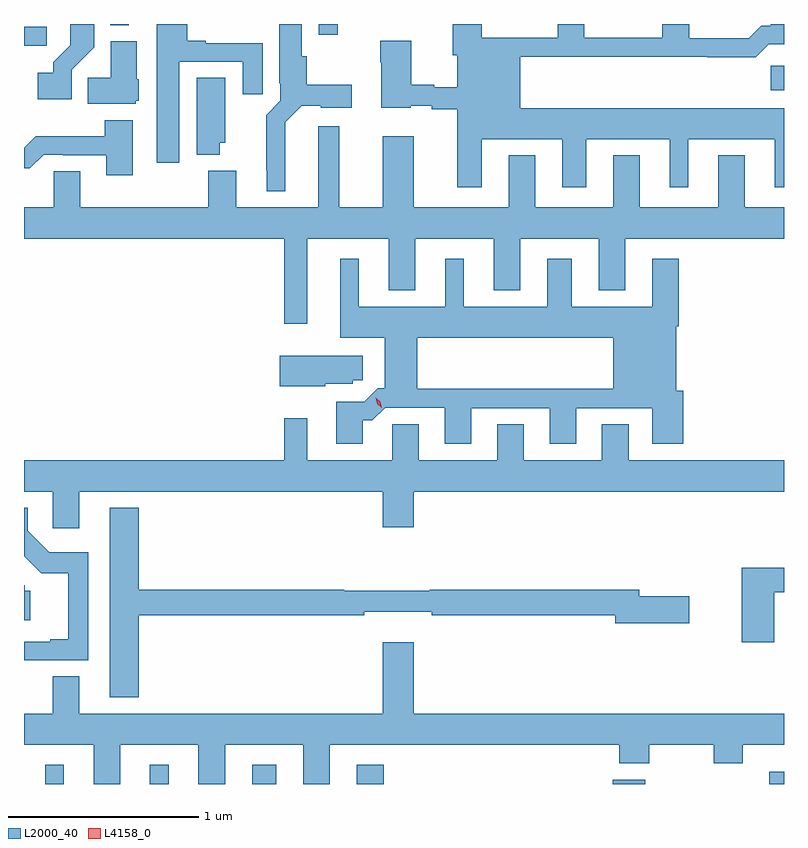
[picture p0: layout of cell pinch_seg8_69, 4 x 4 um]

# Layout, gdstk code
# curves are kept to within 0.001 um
import gdstk
lib = gdstk.Library(unit=1e-6, precision=1e-09)
def R(c, l, rs):  # rectangles x0, y0, x1, y1
    for r in rs: c.add(gdstk.rectangle(r[:2], r[2:], *l))
def P(c, l, *ps):  # polygons
    for p in ps: c.add(gdstk.Polygon(p, *l))
L2000_40 = (2000, 40)
L4158_0 = (4158, 0)

pinch_seg8_69 = lib.new_cell('pinch_seg8_69')
R(pinch_seg8_69, L2000_40, [(930.464,1100.309,930.562,1100.41), (931.016,1100.309,931.114,1100.41), (931.553,1100.309,931.681,1100.41), (932.105,1100.309,932.246,1100.41), (933.452,1100.309,933.622,1100.332), (934.275,1100.309,934.353,1100.374), (934.284,1103.96,934.353,1104.089), (930.353,1104.195,930.472,1104.294), (931.905,1104.252,932.004,1104.309), (930.807,1104.302,930.904,1104.309)])
P(pinch_seg8_69, L2000_40, [(932.761,1103.702),(933.185,1103.702),(933.185,1103.451),(933.313,1103.451),(933.313,1103.702),(933.752,1103.702),(933.752,1103.451),(933.85,1103.451),(933.85,1103.702),(934.304,1103.702),(934.304,1103.451),(934.353,1103.451),(934.353,1103.866),(932.965,1103.866),(932.965,1104.136),(933.949,1104.136),(933.949,1104.134),(934.205,1104.134),(934.274,1104.203),(934.353,1104.203),(934.353,1104.309),(934.283,1104.309),(934.283,1104.301),(934.234,1104.301),(934.167,1104.234),(933.853,1104.234),(933.853,1104.309),(933.713,1104.309),(933.713,1104.237),(933.301,1104.237),(933.301,1104.309),(933.161,1104.309),(933.161,1104.237),(932.761,1104.237),(932.761,1104.309),(932.609,1104.309),(932.609,1104.144),(932.633,1104.144),(932.633,1103.977),(932.513,1103.977),(932.513,1103.989),(932.392,1103.989),(932.392,1104.22),(932.227,1104.22),(932.227,1104.107),(932.234,1104.107),(932.234,1103.867),(932.388,1103.867),(932.388,1103.879),(932.5,1103.879),(932.5,1103.86),(932.633,1103.86),(932.633,1103.451),(932.761,1103.451)],
  [(931.729,1103.792),(931.815,1103.879),(931.914,1103.879),(931.914,1103.867),(932.077,1103.867),(932.077,1103.989),(931.842,1103.989),(931.842,1104.138),(931.816,1104.138),(931.816,1104.309),(931.697,1104.309),(931.697,1103.998),(931.701,1103.998),(931.701,1103.904),(931.627,1103.83),(931.627,1103.539),(931.631,1103.539),(931.631,1103.429),(931.729,1103.429)],
  [(931.171,1104.111),(931.505,1104.111),(931.505,1103.94),(931.609,1103.94),(931.609,1104.207),(931.309,1104.207),(931.309,1104.22),(931.213,1104.22),(931.213,1104.309),(931.052,1104.309),(931.052,1103.58),(931.171,1103.58)],
  [(930.603,1104.067),(930.722,1104.186),(930.722,1104.309),(930.597,1104.309),(930.597,1104.197),(930.506,1104.107),(930.506,1104.052),(930.426,1104.052),(930.426,1103.912),(930.603,1103.912)],
  [(930.942,1103.904),(930.958,1103.904),(930.958,1104.018),(930.946,1104.018),(930.946,1104.217),(930.809,1104.217),(930.809,1104.026),(930.688,1104.026),(930.688,1103.888),(930.942,1103.888)],
  [(931.384,1103.685),(931.411,1103.685),(931.411,1104.026),(931.262,1104.026),(931.262,1103.621),(931.384,1103.621)],
  [(930.925,1103.803),(930.778,1103.803),(930.778,1103.719),(930.415,1103.719),(930.353,1103.657),(930.353,1103.549),(930.383,1103.549),(930.456,1103.622),(930.556,1103.622),(930.556,1103.619),(930.785,1103.619),(930.785,1103.514),(930.925,1103.514)],
  [(933.043,1103.617),(932.903,1103.617),(932.903,1103.344),(932.404,1103.344),(932.404,1103.719),(932.24,1103.719),(932.24,1103.344),(932.011,1103.344),(932.011,1103.77),(931.901,1103.77),(931.901,1103.344),(931.471,1103.344),(931.471,1103.536),(931.324,1103.536),(931.324,1103.344),(930.649,1103.344),(930.649,1103.534),(930.51,1103.534),(930.51,1103.344),(930.353,1103.344),(930.353,1103.18),(931.722,1103.18),(931.722,1102.731),(931.843,1102.731),(931.843,1103.18),(932.273,1103.18),(932.273,1102.907),(932.413,1102.907),(932.413,1103.18),(932.825,1103.18),(932.825,1102.907),(932.965,1102.907),(932.965,1103.18),(933.377,1103.18),(933.377,1102.907),(933.517,1102.907),(933.517,1103.18),(934.353,1103.18),(934.353,1103.344),(934.147,1103.344),(934.147,1103.617),(934.007,1103.617),(934.007,1103.344),(933.595,1103.344),(933.595,1103.617),(933.455,1103.617),(933.455,1103.344),(933.043,1103.344)],
  [(931.997,1102.32),(931.997,1102.101),(932.137,1102.101),(932.137,1102.223),(932.186,1102.223),(932.253,1102.29),(932.567,1102.29),(932.567,1102.101),(932.707,1102.101),(932.707,1102.287),(933.119,1102.287),(933.119,1102.101),(933.259,1102.101),(933.259,1102.287),(933.659,1102.287),(933.659,1102.101),(933.824,1102.101),(933.824,1102.38),(933.787,1102.38),(933.787,1102.718),(933.8,1102.718),(933.8,1103.074),(933.659,1103.074),(933.659,1102.822),(933.235,1102.822),(933.235,1103.074),(933.107,1103.074),(933.107,1102.822),(932.668,1102.822),(932.668,1103.074),(932.57,1103.074),(932.57,1102.822),(932.116,1102.822),(932.116,1103.074),(932.018,1103.074),(932.018,1102.658),(932.252,1102.658),(932.252,1102.391),(932.216,1102.391),(932.213,1102.388),(932.423,1102.388),(932.423,1102.658),(933.455,1102.658),(933.455,1102.388),(932.213,1102.388),(932.145,1102.32)],
  [(931.938,1102.415),(932.082,1102.415),(932.082,1102.435),(932.137,1102.435),(932.137,1102.564),(931.698,1102.564),(931.698,1102.403),(931.938,1102.403)],
  [(930.643,1101.848),(932.24,1101.848),(932.24,1101.66),(932.404,1101.66),(932.404,1101.848),(934.353,1101.848),(934.353,1102.012),(933.535,1102.012),(933.535,1102.202),(933.395,1102.202),(933.395,1102.012),(932.983,1102.012),(932.983,1102.202),(932.843,1102.202),(932.843,1102.012),(932.431,1102.012),(932.431,1102.202),(932.292,1102.202),(932.292,1102.012),(931.843,1102.012),(931.843,1102.234),(931.722,1102.234),(931.722,1102.012),(930.353,1102.012),(930.353,1101.848),(930.504,1101.848),(930.504,1101.654),(930.643,1101.654)],
  [(930.691,1101.528),(930.486,1101.528),(930.372,1101.642),(930.372,1101.763),(930.353,1101.763),(930.353,1101.508),(930.443,1101.419),(930.587,1101.419),(930.587,1101.07),(930.491,1101.07),(930.491,1101.057),(930.353,1101.057),(930.353,1100.961),(930.691,1100.961)],
  [(930.956,1101.196),(932.144,1101.196),(932.144,1101.215),(932.5,1101.215),(932.5,1101.196),(933.464,1101.196),(933.464,1101.154),(933.853,1101.154),(933.853,1101.296),(933.592,1101.296),(933.592,1101.332),(932.488,1101.332),(932.488,1101.325),(932.039,1101.325),(932.039,1101.332),(930.956,1101.332),(930.956,1101.763),(930.803,1101.763),(930.803,1100.765),(930.956,1100.765)],
  [(934.301,1101.319),(934.353,1101.319),(934.353,1101.448),(934.13,1101.448),(934.13,1101.054),(934.301,1101.054)],
  [(930.385,1101.327),(930.357,1101.327),(930.357,1101.354),(930.353,1101.354),(930.353,1101.17),(930.385,1101.17)],
  [(930.859,1100.516),(931.271,1100.516),(931.271,1100.309),(931.411,1100.309),(931.411,1100.516),(931.823,1100.516),(931.823,1100.309),(931.963,1100.309),(931.963,1100.516),(933.485,1100.516),(933.485,1100.417),(933.645,1100.417),(933.645,1100.516),(933.982,1100.516),(933.982,1100.417),(934.137,1100.417),(934.137,1100.516),(934.353,1100.516),(934.353,1100.68),(932.404,1100.68),(932.404,1101.055),(932.24,1101.055),(932.24,1100.68),(930.643,1100.68),(930.643,1100.875),(930.503,1100.875),(930.503,1100.68),(930.353,1100.68),(930.353,1100.516),(930.719,1100.516),(930.719,1100.309),(930.859,1100.309)])
P(pinch_seg8_69, L4158_0, [(932.236,1102.289),(932.236,1102.289),(932.212,1102.311),(932.205,1102.342),(932.205,1102.342),(932.205,1102.342),(932.229,1102.321),(932.236,1102.29)])

lib.write_gds('pinch_seg8_69.gds')
